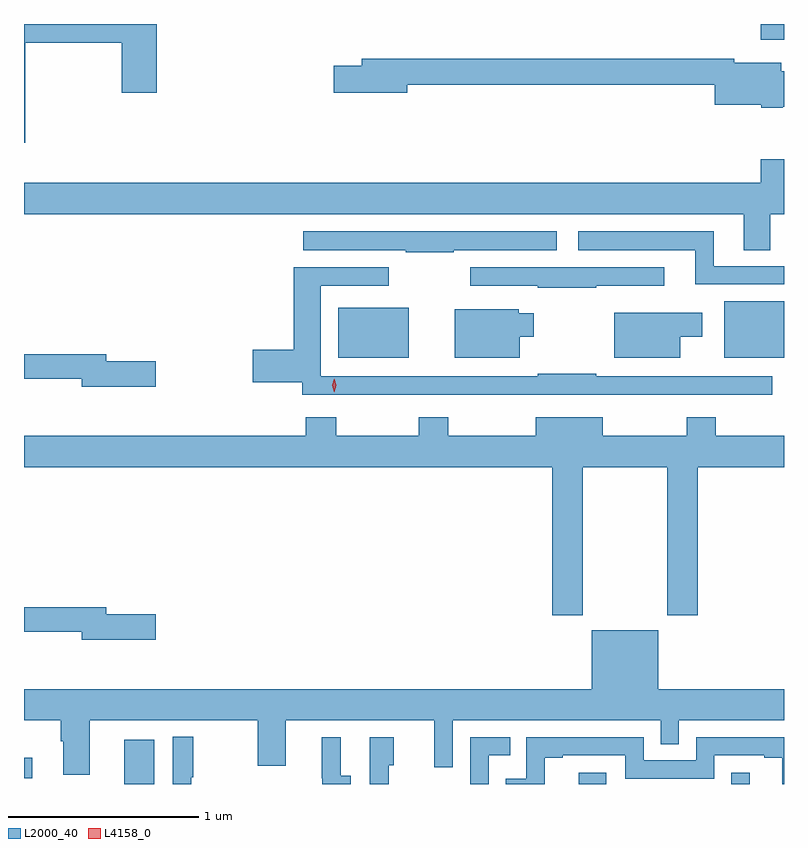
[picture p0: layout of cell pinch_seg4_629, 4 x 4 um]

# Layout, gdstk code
import gdstk
lib = gdstk.Library(unit=1e-6, precision=1e-09)
def R(c, l, rs):  # rectangles x0, y0, x1, y1
    for r in rs: c.add(gdstk.rectangle(r[:2], r[2:], *l))
def P(c, l, *ps):  # polygons
    for p in ps: c.add(gdstk.Polygon(p, *l))
L2000_40 = (2000, 40)
L4158_0 = (4158, 0)

pinch_seg4_629 = lib.new_cell('pinch_seg4_629')
R(pinch_seg4_629, L2000_40, [(1035.14,760.52,1035.298,760.753), (1037.533,760.52,1037.677,760.579), (1038.336,760.52,1038.433,760.579), (1034.613,760.551,1034.656,760.657), (1036.268,762.764,1036.639,763.027), (1038.299,762.764,1038.613,763.06), (1038.491,764.438,1038.613,764.52)])
P(pinch_seg4_629, L2000_40, [(1034.62,764.422),(1035.128,764.422),(1035.128,764.157),(1035.311,764.157),(1035.311,764.52),(1034.613,764.52),(1034.613,763.896),(1034.62,763.896)],
  [(1038.606,764.084),(1038.613,764.084),(1038.613,764.272),(1038.598,764.272),(1038.598,764.317),(1038.352,764.317),(1038.352,764.336),(1036.391,764.336),(1036.391,764.3),(1036.242,764.3),(1036.242,764.158),(1036.63,764.158),(1036.63,764.2),(1038.248,764.2),(1038.248,764.096),(1038.492,764.096),(1038.492,764.078),(1038.606,764.078)],
  [(1038.541,763.52),(1038.613,763.52),(1038.613,763.808),(1038.491,763.808),(1038.491,763.684),(1034.613,763.684),(1034.613,763.52),(1038.401,763.52),(1038.401,763.33),(1038.541,763.33)],
  [(1036.874,763.328),(1037.416,763.328),(1037.416,763.429),(1036.083,763.429),(1036.083,763.328),(1036.621,763.328),(1036.621,763.318),(1036.874,763.318)],
  [(1038.613,763.245),(1038.244,763.245),(1038.244,763.429),(1037.529,763.429),(1037.529,763.328),(1038.146,763.328),(1038.146,763.149),(1038.613,763.149)],
  [(1037.624,763.142),(1037.983,763.142),(1037.983,763.239),(1036.962,763.239),(1036.962,763.143),(1037.317,763.143),(1037.317,763.131),(1037.624,763.131)],
  [(1036.601,762.57),(1036.933,762.57),(1036.933,762.569),(1037.21,762.569),(1037.21,762.57),(1037.755,762.57),(1037.755,762.569),(1038.011,762.569),(1038.011,762.57),(1038.55,762.57),(1038.55,762.666),(1037.624,762.666),(1037.624,762.679),(1037.317,762.679),(1037.317,762.666),(1036.174,762.666),(1036.174,763.143),(1036.534,763.143),(1036.534,763.239),(1036.034,763.239),(1036.034,762.806),(1035.816,762.806),(1035.816,762.635),(1036.077,762.635),(1036.077,762.57),(1036.345,762.57),(1036.345,762.569),(1036.601,762.569)],
  [(1037.221,762.875),(1037.296,762.875),(1037.296,762.997),(1037.217,762.997),(1037.217,763.018),(1036.88,763.018),(1036.88,762.764),(1037.221,762.764)],
  [(1038.067,762.875),(1038.184,762.875),(1038.184,763),(1037.72,763),(1037.72,762.764),(1038.067,762.764)],
  [(1035.307,762.746),(1035.046,762.746),(1035.046,762.782),(1034.613,762.782),(1034.613,762.654),(1034.918,762.654),(1034.918,762.611),(1035.307,762.611)],
  [(1037.553,762.188),(1037.998,762.188),(1037.998,761.409),(1038.158,761.409),(1038.158,762.188),(1038.613,762.188),(1038.613,762.352),(1038.255,762.352),(1038.255,762.451),(1038.1,762.451),(1038.1,762.352),(1037.659,762.352),(1037.659,762.451),(1037.306,762.451),(1037.306,762.352),(1036.845,762.352),(1036.845,762.451),(1036.69,762.451),(1036.69,762.352),(1036.257,762.352),(1036.257,762.451),(1036.097,762.451),(1036.097,762.352),(1034.613,762.352),(1034.613,762.188),(1037.393,762.188),(1037.393,761.409),(1037.553,761.409)],
  [(1035.307,761.414),(1035.046,761.414),(1035.046,761.45),(1034.613,761.45),(1034.613,761.322),(1034.918,761.322),(1034.918,761.279),(1035.307,761.279)],
  [(1034.959,760.856),(1035.844,760.856),(1035.844,760.617),(1035.991,760.617),(1035.991,760.856),(1036.772,760.856),(1036.772,760.608),(1036.869,760.608),(1036.869,760.856),(1037.964,760.856),(1037.964,760.729),(1038.06,760.729),(1038.06,760.856),(1038.613,760.856),(1038.613,761.02),(1037.95,761.02),(1037.95,761.329),(1037.6,761.329),(1037.6,761.02),(1034.613,761.02),(1034.613,760.856),(1034.807,760.856),(1034.807,760.744),(1034.819,760.744),(1034.819,760.57),(1034.959,760.57)],
  [(1035.493,760.555),(1035.505,760.555),(1035.505,760.768),(1035.396,760.768),(1035.396,760.52),(1035.493,760.52)],
  [(1037.058,760.671),(1037.171,760.671),(1037.171,760.767),(1036.962,760.767),(1036.962,760.52),(1037.058,760.52)],
  [(1037.353,760.659),(1037.449,760.659),(1037.449,760.671),(1037.778,760.671),(1037.778,760.548),(1038.246,760.548),(1038.246,760.671),(1038.509,760.671),(1038.509,760.659),(1038.605,760.659),(1038.605,760.52),(1038.613,760.52),(1038.613,760.767),(1038.15,760.767),(1038.15,760.644),(1037.874,760.644),(1037.874,760.767),(1037.256,760.767),(1037.256,760.548),(1037.148,760.548),(1037.148,760.52),(1037.353,760.52)],
  [(1036.533,760.62),(1036.558,760.62),(1036.558,760.765),(1036.434,760.765),(1036.434,760.52),(1036.533,760.52)],
  [(1036.333,760.563),(1036.279,760.563),(1036.279,760.765),(1036.18,760.765),(1036.18,760.551),(1036.182,760.551),(1036.182,760.52),(1036.333,760.52)])
P(pinch_seg4_629, L4158_0, [(1036.245,762.583),(1036.236,762.618),(1036.245,762.654),(1036.246,762.654),(1036.246,762.654),(1036.256,762.618),(1036.246,762.583),(1036.246,762.583)])

lib.write_gds('pinch_seg4_629.gds')
